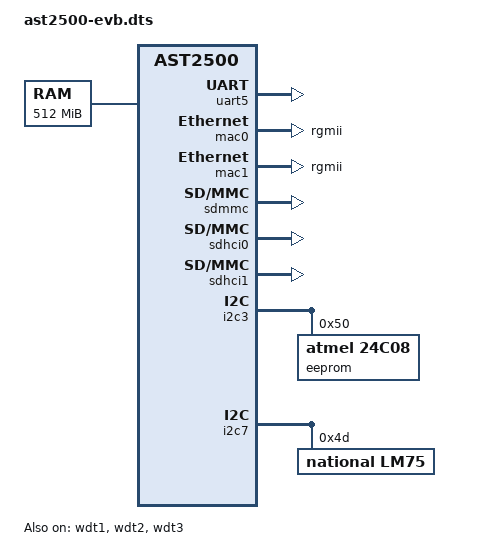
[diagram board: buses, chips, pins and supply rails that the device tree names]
/dts-v1/;

#include "ast2500-u-boot.dtsi"

/ {
	memory {
		device_type = "memory";
		reg = <0x80000000 0x20000000>;
	};

	chosen {
		stdout-path = &uart5;
	};

	aliases {
		ethernet0 = &mac0;
		ethernet1 = &mac1;
	};
};

&uart5 {
	u-boot,dm-pre-reloc;
	status = "okay";
};

&sdrammc {
	clock-frequency = <400000000>;
};

&wdt1 {
	u-boot,dm-pre-reloc;
	status = "okay";
};

&wdt2 {
	u-boot,dm-pre-reloc;
	status = "okay";
};

&wdt3 {
	u-boot,dm-pre-reloc;
	status = "okay";
};

&mac0 {
	status = "okay";

	phy-mode = "rgmii";

	pinctrl-names = "default";
	pinctrl-0 = <&pinctrl_mac1link_default &pinctrl_mdio1_default>;
};

&mac1 {
	status = "okay";

	phy-mode = "rgmii";

	pinctrl-names = "default";
	pinctrl-0 = <&pinctrl_mac2link_default &pinctrl_mdio2_default>;
};

&sdmmc {
	status = "okay";
};

&sdhci0 {
	status = "okay";

	pinctrl-names = "default";
	pinctrl-0 = <&pinctrl_sd1_default>;
};

&sdhci1 {
	status = "okay";

	pinctrl-names = "default";
	pinctrl-0 = <&pinctrl_sd2_default>;
};

&i2c3 {
        status = "okay";

        eeprom@50 {
                compatible = "atmel,24c08";
                reg = <0x50>;
                pagesize = <16>;
        };
};

&i2c7 {
	status = "okay";

        lm75@4d {
                compatible = "national,lm75";
                reg = <0x4d>;
        };
};
